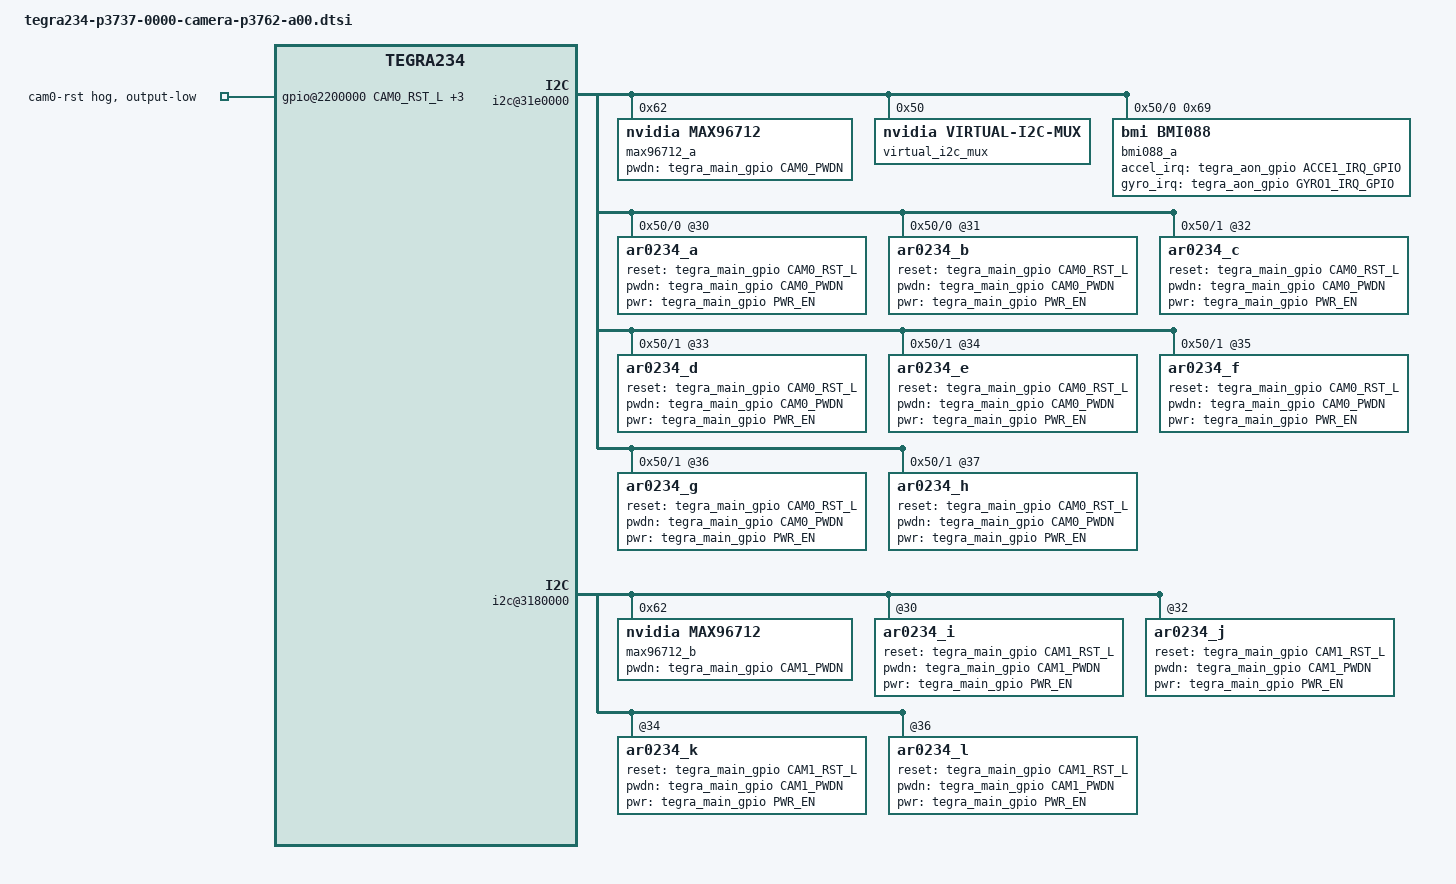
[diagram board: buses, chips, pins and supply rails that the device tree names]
/*
 * Copyright (c) 2018-2023, NVIDIA CORPORATION.  All rights reserved.
 *
 * This program is free software; you can redistribute it and/or modify
 * it under the terms of the GNU General Public License as published by
 * the Free Software Foundation; either version 2 of the License, or
 * (at your option) any later version.
 *
 * This program is distributed in the hope that it will be useful, but WITHOUT
 * ANY WARRANTY; without even the implied warranty of MERCHANTABILITY or
 * FITNESS FOR A PARTICULAR PURPOSE.  See the GNU General Public License for
 * more details.
 *
 * You should have received a copy of the GNU General Public License
 * along with this program.  If not, see <http://www.gnu.org/licenses/>.
 */
#include <t234-common-modules/tegra234-camera-p3762-a00.dtsi>
#include "dt-bindings/gpio/tegra234-gpio.h"
#include "dt-bindings/clock/tegra234-clock.h"


#define CAM0_RST_L      TEGRA234_MAIN_GPIO(H, 3)
#define CAM0_PWDN       TEGRA234_MAIN_GPIO(H, 6)
#define CAM1_RST_L      TEGRA234_MAIN_GPIO(AC, 1)
#define CAM1_PWDN       TEGRA234_MAIN_GPIO(AC, 0)
#define PWR_EN          TEGRA234_MAIN_GPIO(AC, 7)
#define GYRO1_IRQ_GPIO  TEGRA234_AON_GPIO(CC, 1)
#define ACCE1_IRQ_GPIO  TEGRA234_AON_GPIO(CC, 0)

#define CAMERA_I2C_MUX_BUS(x) (0x1E + x)

/* camera control gpio definitions */

/ {
	/* set camera gpio direction to output */
	gpio@2200000 {
		camera-control-output-low {
			gpio-hog;
			output-low;
			gpios = <CAM0_RST_L 0 CAM0_PWDN 0
				CAM1_RST_L 0 CAM1_PWDN 0>;
			label = "cam0-rst", "cam0-pwdn",
			      "cam1-rst", "cam1-pwdn";
		};
	};
	i2c@31e0000 {
		max96712_a@62 {
			compatible = "nvidia,max96712";
			reg = <0x62>;
			channel = "a";
			pwdn-gpios = <&tegra_main_gpio CAM0_PWDN GPIO_ACTIVE_HIGH>;
		};
		virtual_i2c_mux@50 {
			reg = <0x50>;
			compatible = "nvidia,virtual-i2c-mux";
			#address-cells = <1>;
			#size-cells = <0>;
			i2c-parent = <&dp_aux_ch3_i2c>;

			i2c@0 {
				reg = <0>;
				i2c-mux,deselect-on-exit;
				#address-cells = <1>;
				#size-cells = <0>;

				bmi088_a@69 {
					compatible = "bmi,bmi088";
					reg = <0x69>;
					accel_i2c_addr = <0x19>;
					accel_irq_gpio = <&tegra_aon_gpio ACCE1_IRQ_GPIO GPIO_ACTIVE_HIGH>;
					gyro_irq_gpio = <&tegra_aon_gpio GYRO1_IRQ_GPIO GPIO_ACTIVE_HIGH>;
					accel_matrix = [01 00 00 00 01 00 00 00 01];
					gyro_matrix = [01 00 00 00 01 00 00 00 01];
					gyro_reg_0x18 = <0x81>;
				};

				ar0234_a@30 {
					def-addr = <0x10>;
					clocks = <&bpmp_clks TEGRA234_CLK_EXTPERIPH1>,
					       <&bpmp_clks TEGRA234_CLK_EXTPERIPH1>;
					clock-names = "extperiph1", "pllp_grtba";
					mclk = "extperiph1";
					channel = "a";
					has-eeprom;
					eeprom-addr = <0x40>;
					reset-gpios = <&tegra_main_gpio CAM0_RST_L GPIO_ACTIVE_HIGH>;
					pwdn-gpios = <&tegra_main_gpio CAM0_PWDN GPIO_ACTIVE_HIGH>;
					pwr-gpios = <&tegra_main_gpio PWR_EN GPIO_ACTIVE_HIGH>;
				};

				ar0234_b@31 {
					def-addr = <0x18>;
					clocks = <&bpmp_clks TEGRA234_CLK_EXTPERIPH1>,
					       <&bpmp_clks TEGRA234_CLK_EXTPERIPH1>;
					clock-names = "extperiph1", "pllp_grtba";
					mclk = "extperiph1";
					channel = "c";
					has-eeprom;
					eeprom-addr = <0x40>;
					reset-gpios = <&tegra_main_gpio CAM0_RST_L GPIO_ACTIVE_HIGH>;
					pwdn-gpios = <&tegra_main_gpio CAM0_PWDN GPIO_ACTIVE_HIGH>;
					pwr-gpios = <&tegra_main_gpio PWR_EN GPIO_ACTIVE_HIGH>;
				};
			};

			i2c@1 {
				reg = <1>;	
				i2c-mux,deselect-on-exit;
				#address-cells = <1>;
				#size-cells = <0>;
				ar0234_c@32 {
					def-addr = <0x10>;
					clocks = <&bpmp_clks TEGRA234_CLK_EXTPERIPH1>,
					       <&bpmp_clks TEGRA234_CLK_EXTPERIPH1>;
					clock-names = "extperiph1", "pllp_grtba";
					mclk = "extperiph1";
					channel = "a";
					has-eeprom;
					eeprom-addr = <0x15>;
					reset-gpios = <&tegra_main_gpio CAM0_RST_L GPIO_ACTIVE_HIGH>;
					pwdn-gpios = <&tegra_main_gpio CAM0_PWDN GPIO_ACTIVE_HIGH>;
					pwr-gpios = <&tegra_main_gpio PWR_EN GPIO_ACTIVE_HIGH>;
				};
				ar0234_d@33 {
					def-addr = <0x18>;
					clocks = <&bpmp_clks TEGRA234_CLK_EXTPERIPH1>,
					       <&bpmp_clks TEGRA234_CLK_EXTPERIPH1>;
					clock-names = "extperiph1", "pllp_grtba";
					mclk = "extperiph1";
					channel = "c";
					has-eeprom;
					eeprom-addr = <0x15>;
					reset-gpios = <&tegra_main_gpio CAM0_RST_L GPIO_ACTIVE_HIGH>;
					pwdn-gpios = <&tegra_main_gpio CAM0_PWDN GPIO_ACTIVE_HIGH>;
					pwr-gpios = <&tegra_main_gpio PWR_EN GPIO_ACTIVE_HIGH>;
				};
				ar0234_e@34 {
					def-addr = <0x10>;
					clocks = <&bpmp_clks TEGRA234_CLK_EXTPERIPH1>,
					       <&bpmp_clks TEGRA234_CLK_EXTPERIPH1>;
					clock-names = "extperiph1", "pllp_grtba";
					mclk = "extperiph1";
					channel = "a";
					has-eeprom;
					eeprom-addr = <0x44>;
					reset-gpios = <&tegra_main_gpio CAM0_RST_L GPIO_ACTIVE_HIGH>;
					pwdn-gpios = <&tegra_main_gpio CAM0_PWDN GPIO_ACTIVE_HIGH>;
					pwr-gpios = <&tegra_main_gpio PWR_EN GPIO_ACTIVE_HIGH>;
				};
				ar0234_f@35 {
					def-addr = <0x18>;
					clocks = <&bpmp_clks TEGRA234_CLK_EXTPERIPH1>,
					       <&bpmp_clks TEGRA234_CLK_EXTPERIPH1>;
					clock-names = "extperiph1", "pllp_grtba";
					mclk = "extperiph1";
					channel = "c";
					has-eeprom;
					eeprom-addr = <0x44>;
					reset-gpios = <&tegra_main_gpio CAM0_RST_L GPIO_ACTIVE_HIGH>;
					pwdn-gpios = <&tegra_main_gpio CAM0_PWDN GPIO_ACTIVE_HIGH>;
					pwr-gpios = <&tegra_main_gpio PWR_EN GPIO_ACTIVE_HIGH>;
				};
				ar0234_g@36 {
					def-addr = <0x10>;
					clocks = <&bpmp_clks TEGRA234_CLK_EXTPERIPH1>,
					       <&bpmp_clks TEGRA234_CLK_EXTPERIPH1>;
					clock-names = "extperiph1", "pllp_grtba";
					mclk = "extperiph1";
					channel = "a";
					has-eeprom;
					eeprom-addr = <0x46>;
					reset-gpios = <&tegra_main_gpio CAM0_RST_L GPIO_ACTIVE_HIGH>;
					pwdn-gpios = <&tegra_main_gpio CAM0_PWDN GPIO_ACTIVE_HIGH>;
					pwr-gpios = <&tegra_main_gpio PWR_EN GPIO_ACTIVE_HIGH>;
				};
				ar0234_h@37 {
					def-addr = <0x18>;
					clocks = <&bpmp_clks TEGRA234_CLK_EXTPERIPH1>,
					       <&bpmp_clks TEGRA234_CLK_EXTPERIPH1>;
					clock-names = "extperiph1", "pllp_grtba";
					mclk = "extperiph1";
					channel = "c";
					has-eeprom;
					eeprom-addr = <0x46>;
					reset-gpios = <&tegra_main_gpio CAM0_RST_L GPIO_ACTIVE_HIGH>;
					pwdn-gpios = <&tegra_main_gpio CAM0_PWDN GPIO_ACTIVE_HIGH>;
					pwr-gpios = <&tegra_main_gpio PWR_EN GPIO_ACTIVE_HIGH>;
				};
			};
		};
	};
	i2c@3180000 {
		max96712_b@62 {
			compatible = "nvidia,max96712";
			reg = <0x62>;
			channel = "b";
			pwdn-gpios = <&tegra_main_gpio CAM1_PWDN GPIO_ACTIVE_HIGH>;
		};


		ar0234_i@30 {
			def-addr = <0x18>;
			/* Define any required hw resources needed by driver */
			/* ie. clocks, io pins, power sources */
			clocks = <&bpmp_clks TEGRA234_CLK_EXTPERIPH1>,
			       <&bpmp_clks TEGRA234_CLK_EXTPERIPH1>;
			clock-names = "extperiph1", "pllp_grtba";
			mclk = "extperiph1";
			channel = "b";
			has-eeprom;
			eeprom-addr = <0x38>;
			reset-gpios = <&tegra_main_gpio CAM1_RST_L GPIO_ACTIVE_HIGH>;
			pwdn-gpios = <&tegra_main_gpio CAM1_PWDN GPIO_ACTIVE_HIGH>;
			pwr-gpios = <&tegra_main_gpio PWR_EN GPIO_ACTIVE_HIGH>;
		};
		ar0234_j@32 {
			def-addr = <0x18>;
			/* Define any required hw resources needed by driver */
			/* ie. clocks, io pins, power sources */
			clocks = <&bpmp_clks TEGRA234_CLK_EXTPERIPH1>,
			       <&bpmp_clks TEGRA234_CLK_EXTPERIPH1>;
			clock-names = "extperiph1", "pllp_grtba";
			mclk = "extperiph1";
			channel = "b";
			has-eeprom;
			eeprom-addr = <0x3a>;
			reset-gpios = <&tegra_main_gpio CAM1_RST_L GPIO_ACTIVE_HIGH>;
			pwdn-gpios = <&tegra_main_gpio CAM1_PWDN GPIO_ACTIVE_HIGH>;
			pwr-gpios = <&tegra_main_gpio PWR_EN GPIO_ACTIVE_HIGH>;
		};
		ar0234_k@34 {
			def-addr = <0x18>;
			/* Define any required hw resources needed by driver */
			/* ie. clocks, io pins, power sources */
			clocks = <&bpmp_clks TEGRA234_CLK_EXTPERIPH1>,
			       <&bpmp_clks TEGRA234_CLK_EXTPERIPH1>;
			clock-names = "extperiph1", "pllp_grtba";
			mclk = "extperiph1";
			channel = "b";
			has-eeprom;
			eeprom-addr = <0x3c>;
			reset-gpios = <&tegra_main_gpio CAM1_RST_L GPIO_ACTIVE_HIGH>;
			pwdn-gpios = <&tegra_main_gpio CAM1_PWDN GPIO_ACTIVE_HIGH>;
			pwr-gpios = <&tegra_main_gpio PWR_EN GPIO_ACTIVE_HIGH>;
		};
		ar0234_l@36 {
			def-addr = <0x18>;
			/* Define any required hw resources needed by driver */
			/* ie. clocks, io pins, power sources */
			clocks = <&bpmp_clks TEGRA234_CLK_EXTPERIPH1>,
			       <&bpmp_clks TEGRA234_CLK_EXTPERIPH1>;
			clock-names = "extperiph1", "pllp_grtba";
			mclk = "extperiph1";
			channel = "b";
			has-eeprom;
			eeprom-addr = <0x3e>;
			reset-gpios = <&tegra_main_gpio CAM1_RST_L GPIO_ACTIVE_HIGH>;
			pwdn-gpios = <&tegra_main_gpio CAM1_PWDN GPIO_ACTIVE_HIGH>;
			pwr-gpios = <&tegra_main_gpio PWR_EN GPIO_ACTIVE_HIGH>;
		};
	};
};

